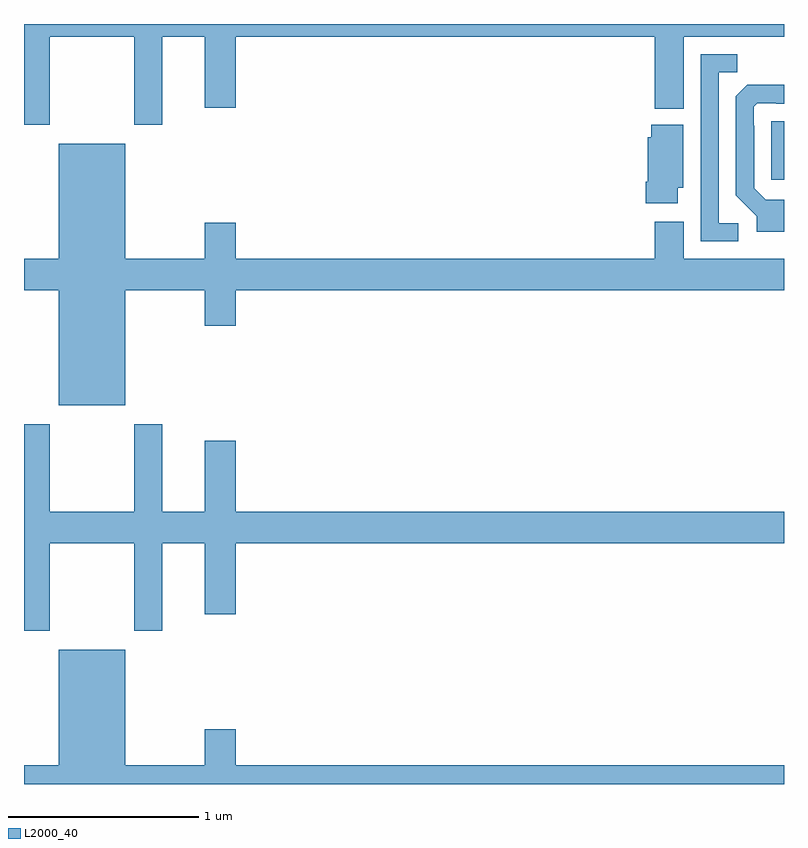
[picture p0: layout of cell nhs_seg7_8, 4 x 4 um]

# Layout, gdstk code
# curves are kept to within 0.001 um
import gdstk
lib = gdstk.Library(unit=1e-6, precision=1e-09)
def R(c, l, rs):  # rectangles x0, y0, x1, y1
    for r in rs: c.add(gdstk.rectangle(r[:2], r[2:], *l))
def P(c, l, *ps):  # polygons
    for p in ps: c.add(gdstk.Polygon(p, *l))
L2000_40 = (2000, 40)

nhs_seg7_8 = lib.new_cell('nhs_seg7_8')
R(nhs_seg7_8, L2000_40, [(114.933,1017.18,115,1017.489)])
P(nhs_seg7_8, L2000_40, [(111.135,1017.932),(111.58,1017.932),(111.58,1017.471),(111.727,1017.471),(111.727,1017.932),(111.95,1017.932),(111.95,1017.558),(112.114,1017.558),(112.114,1017.932),(114.32,1017.932),(114.32,1017.554),(114.472,1017.554),(114.472,1017.932),(115,1017.932),(115,1018),(111,1018),(111,1017.471),(111.135,1017.471)],
  [(114.76,1016.952),(114.657,1016.952),(114.657,1017.745),(114.753,1017.745),(114.753,1017.84),(114.561,1017.84),(114.561,1016.856),(114.76,1016.856)],
  [(115,1017.075),(114.903,1017.075),(114.843,1017.135),(114.843,1017.464),(114.84,1017.464),(114.84,1017.564),(114.858,1017.582),(114.958,1017.582),(114.958,1017.579),(115,1017.579),(115,1017.68),(114.806,1017.679),(114.747,1017.62),(114.747,1017.098),(114.857,1016.988),(114.857,1016.906),(115,1016.906)],
  [(114.442,1017.138),(114.469,1017.138),(114.469,1017.469),(114.302,1017.469),(114.302,1017.405),(114.284,1017.405),(114.284,1017.169),(114.272,1017.169),(114.272,1017.057),(114.442,1017.057)],
  [(111.532,1016.6),(111.95,1016.6),(111.95,1016.412),(112.114,1016.412),(112.114,1016.6),(115,1016.6),(115,1016.764),(114.472,1016.764),(114.472,1016.959),(114.32,1016.959),(114.32,1016.764),(112.114,1016.764),(112.114,1016.953),(111.95,1016.953),(111.95,1016.764),(111.532,1016.764),(111.532,1017.37),(111.182,1017.37),(111.182,1016.764),(111,1016.764),(111,1016.6),(111.182,1016.6),(111.182,1015.994),(111.532,1015.994)],
  [(111.135,1015.268),(111.58,1015.268),(111.58,1014.807),(111.727,1014.807),(111.727,1015.268),(111.95,1015.268),(111.95,1014.894),(112.114,1014.894),(112.114,1015.268),(115,1015.268),(115,1015.432),(112.114,1015.432),(112.114,1015.807),(111.95,1015.807),(111.95,1015.432),(111.727,1015.432),(111.727,1015.894),(111.58,1015.894),(111.58,1015.432),(111.135,1015.432),(111.135,1015.894),(111,1015.894),(111,1014.807),(111.135,1014.807)],
  [(115,1014.1),(112.114,1014.1),(112.114,1014.289),(111.95,1014.289),(111.95,1014.1),(111.532,1014.1),(111.532,1014.706),(111.182,1014.706),(111.182,1014.1),(111,1014.1),(111,1014),(115,1014)])

lib.write_gds('nhs_seg7_8.gds')
